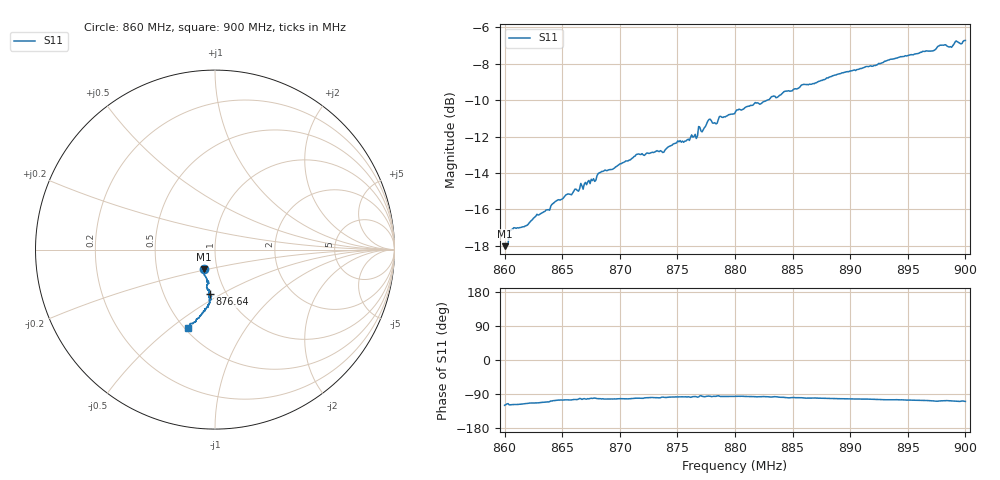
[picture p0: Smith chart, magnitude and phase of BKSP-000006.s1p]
# MHz S MA R 50
!  freq  S11
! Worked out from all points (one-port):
!   400 points, 860 MHz to 900 MHz, reference 50 ohm
!   lowest |S11| = -18.0 dB at 860 MHz (marker M1), VSWR 1.29, Z = 43.2 - j9.6 ohm
!   |S11| at or under -10 dB: start of sweep to 882.81 MHz
!   S11 on the Smith chart (normalised r, x): 860 MHz: 0.86, -0.19; 876.64 MHz: 0.84, -0.44; 900 MHz: 0.52, -0.57
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860  0.1257 -119.5
860.3008  0.127 -115.1
860.401  0.1376 -118.4
860.5013  0.1389 -118.1
861.9048  0.1432 -114.8
865.0125  0.1693 -105.8
866.416  0.1779 -103.1
866.6165  0.1868 -102.2
866.817  0.1802 -102.7
867.0175  0.188 -103.0
867.8195  0.1892 -100.2
868.2206  0.1999 -102.0
870.0251  0.2115 -102.1
871.5288  0.2247 -100.9
873.7343  0.2271 -97.9
875.0376  0.2444 -97.6
876.5414  0.2546 -96.3
876.6416  0.2482 -96.9
876.8421  0.2676 -97.4
877.1429  0.2587 -95.8
877.7444  0.2798 -95.4
878.3459  0.2722 -96.0
878.6466  0.2851 -95.3
880.0501  0.2939 -96.0
885.0627  0.3381 -99.0
890.0752  0.3802 -102.8
895.0877  0.4198 -105.7
900  0.461 -109.3
